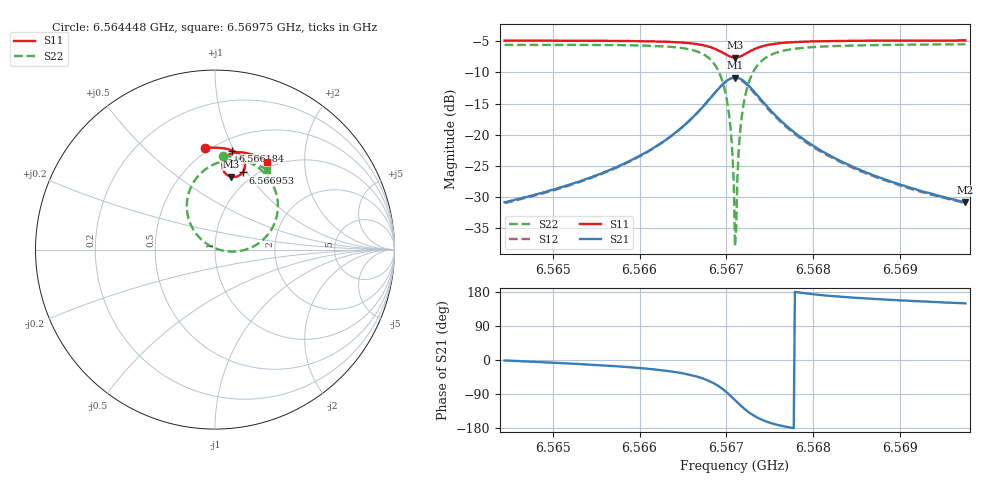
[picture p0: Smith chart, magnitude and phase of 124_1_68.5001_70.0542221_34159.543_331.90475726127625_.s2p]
#  HZ  S  RI  R  50.00
! Rohde & Schwarz Vector Network Analyzer
! Rohde-Schwarz,ZNB20-2Port,1311601062101988,3.16
! Created: UTC 3/20/2024, 5:09:14 PM
! freq[Hz]  re:S11  im:S11  re:S21  im:S21  re:S12  im:S12  re:S22  im:S22
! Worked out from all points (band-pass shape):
!   401 points, 6.564448 GHz to 6.56975 GHz, reference 50 ohm
!   highest |S21| = -10.82 dB at 6.567099 GHz (marker M1); lowest = -30.9 dB at 6.56975 GHz (marker M2)
!   |S21| within 3 dB of the highest: 6.566835 GHz to 6.567364 GHz (529.5 kHz wide, 0.00806 % of centre)
!   lowest |S11| = -7.6 dB at 6.567099 GHz (marker M3), VSWR 2.42, Z = 41.7 + j40.9 ohm
!   |S11| at or under -10 dB: nowhere
!   |S22| runs from -37.9 to -5.5 dB; largest |S21 - S12| = 0.014
!   S11 on the Smith chart (normalised r, x): 6.564448 GHz: 0.47, +0.79; 6.566184 GHz: 0.61, +0.99; 6.566953 GHz: 0.88, +0.96; 6.56975 GHz: 0.91, +1.32
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6.5644478e9  -0.0559 0.5663  0.0288 -0.000651  0.0283 -0.00125  0.0441 0.5238
6.5653359e9  0.0172 0.5676  0.0422 -0.00806  0.0413 -0.00884  0.1292 0.5094
6.5661842e9  0.0974 0.5521  0.0727 -0.0342  0.0715 -0.0349  0.2429 0.4549
6.566224e9  0.1017 0.5504  0.0749 -0.0368  0.0738 -0.0376  0.2497 0.4494
6.5667277e9  0.1606 0.4987  0.1103 -0.1255  0.1077 -0.128  0.3484 0.2768
6.5668602e9  0.1667 0.4624  0.0999 -0.1889  0.0951 -0.1924  0.3353 0.156
6.566953e9  0.1542 0.43  0.0611 -0.2445  0.0527 -0.2473  0.2647 0.0526
6.5669928e9  0.1417 0.4173  0.0313 -0.2651  0.0211 -0.2666  0.21 0.0155
6.5670325e9  0.1247 0.4081  -0.00635 -0.2789  -0.0182 -0.2782  0.141 -0.00742
6.567059e9  0.1113 0.4049  -0.0347 -0.2824  -0.047 -0.2798  0.0897 -0.0112
6.5670855e9  0.0975 0.4048  -0.064 -0.2802  -0.0762 -0.2753  0.0378 -0.00457
6.5670988e9  0.0905 0.4059  -0.0783 -0.2769  -0.0905 -0.271  0.0124 0.00298
6.5671121e9  0.0836 0.4077  -0.0924 -0.2722  -0.1041 -0.2653  -0.0119 0.0129
6.5671253e9  0.0772 0.4103  -0.106 -0.2661  -0.1171 -0.2581  -0.0349 0.0253
6.5671518e9  0.0654 0.4176  -0.1305 -0.2505  -0.14 -0.2408  -0.0758 0.0562
6.5671916e9  0.0518 0.4322  -0.1592 -0.2206  -0.1659 -0.2094  -0.1214 0.1124
6.5672446e9  0.0425 0.4545  -0.1811 -0.1764  -0.1841 -0.1648  -0.1522 0.1929
6.5673109e9  0.0424 0.4806  -0.1869 -0.1256  -0.1868 -0.1154  -0.1538 0.282
6.5675495e9  0.08 0.5301  -0.1436 -0.0281  -0.1404 -0.0237  -0.0554 0.4458
6.5679869e9  0.1432 0.5423  -0.0821 0.00887  -0.08 0.0102  0.0829 0.4978
6.568875e9  0.2268 0.522  -0.0397 0.0153  -0.0388 0.0157  0.2135 0.4805
6.5697498e9  0.2917 0.4907  -0.0247 0.0145  -0.0242 0.0147  0.291 0.4452
